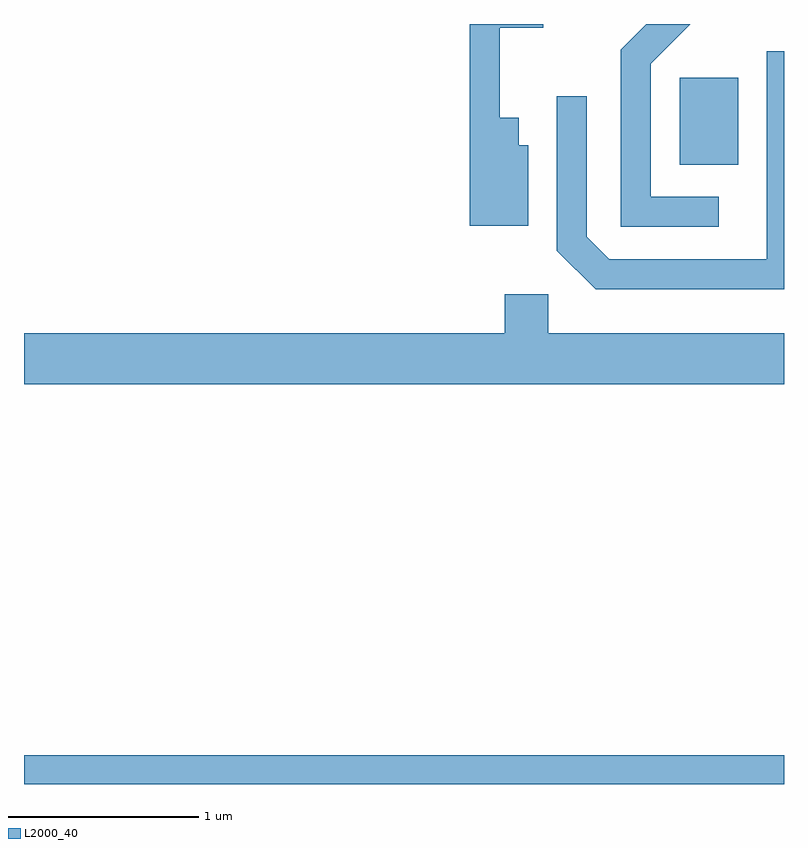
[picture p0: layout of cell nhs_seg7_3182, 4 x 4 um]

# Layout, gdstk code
import gdstk
lib = gdstk.Library(unit=1e-6, precision=1e-09)
def R(c, l, rs):  # rectangles x0, y0, x1, y1
    for r in rs: c.add(gdstk.rectangle(r[:2], r[2:], *l))
def P(c, l, *ps):  # polygons
    for p in ps: c.add(gdstk.Polygon(p, *l))
L2000_40 = (2000, 40)

nhs_seg7_3182 = lib.new_cell('nhs_seg7_3182')
R(nhs_seg7_3182, L2000_40, [(283.611,1672.252,287.611,1672.404), (287.061,1675.511,287.369,1675.969)])
P(nhs_seg7_3182, L2000_40, [(286.264,1675.614),(286.214,1675.614),(286.214,1675.759),(286.114,1675.759),(286.114,1676.231),(286.343,1676.231),(286.343,1676.252),(285.956,1676.252),(285.956,1675.191),(286.264,1675.191)],
  [(287.268,1675.344),(286.909,1675.344),(286.909,1676.044),(287.118,1676.252),(286.886,1676.252),(286.751,1676.117),(286.751,1675.186),(287.268,1675.186)],
  [(287.611,1676.109),(287.521,1676.109),(287.521,1675.014),(286.692,1675.014),(286.574,1675.132),(286.574,1675.873),(286.416,1675.873),(286.416,1675.059),(286.619,1674.856),(287.611,1674.856)],
  [(287.611,1674.624),(286.369,1674.624),(286.369,1674.829),(286.141,1674.829),(286.141,1674.624),(283.611,1674.624),(283.611,1674.356),(287.611,1674.356)])

lib.write_gds('nhs_seg7_3182.gds')
